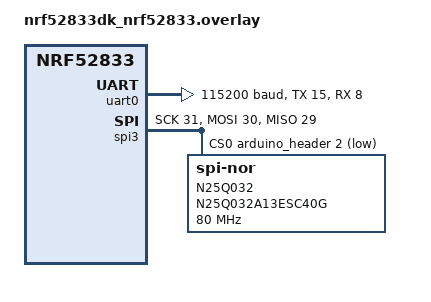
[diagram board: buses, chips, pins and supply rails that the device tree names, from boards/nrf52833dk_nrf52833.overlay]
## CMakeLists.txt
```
# Find Zephyr. This also loads Zephyr's build system.
cmake_minimum_required(VERSION 3.13.1)
find_package(Zephyr)
project(my_zephyr_app)

# Add your source file to the "app" target. This must come after
# find_package(Zephyr) which defines the target.
target_sources(app PRIVATE src/main.c  
                           src/ble/ble.c 
                           src/ble/advertise.c 
                           src/ble/scan.c 
                           src/ble/connection.c
                           src/records/extmem.c
                           src/records/storage.c
                           src/gaens/crypto.c
                           src/gaens/gaens.c
                           src/gaens/gaens_test.c
                           src/ble/services/wens/wens.c
                           src/time/time.c
                           src/ble/services/bs/bas.c
                           src/ble/services/dis/dis.c
                           src/ble/services/dts/dts.c)
```

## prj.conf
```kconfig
# This file consist of project-specific configurations

# Bluetooth
CONFIG_BT=y
CONFIG_BT_BROADCASTER=y
CONFIG_BT_PERIPHERAL=y
CONFIG_BT_OBSERVER=y
CONFIG_BT_CTLR_TX_PWR_0=y
CONFIG_BT_ID_MAX=2
CONFIG_BT_EXT_ADV=y
CONFIG_BT_EXT_ADV_MAX_ADV_SET=2
CONFIG_BT_CTLR_ADV_EXT=y
CONFIG_BT_CTLR_PHY_2M=y
CONFIG_BT_CTLR_TX_BUFFER_SIZE=251
CONFIG_BT_RX_BUF_LEN=258
CONFIG_BT_CTLR_DATA_LENGTH_MAX=251
CONFIG_BT_DEVICE_NAME="Contact Tracing Wearable"
CONFIG_BT_BONDABLE=y
CONFIG_BT_SMP=y

# Logging
CONFIG_BT_DEBUG_LOG=y
CONFIG_STDOUT_CONSOLE=y
CONFIG_LOG_BACKEND_UART=y
CONFIG_SERIAL=y

# External memory
CONFIG_FLASH=y
CONFIG_SPI=y

# GAENS crypto
CONFIG_MBEDTLS=y
CONFIG_POSIX_API=y
CONFIG_NEWLIB_LIBC=y
CONFIG_MBEDTLS_CIPHER_MODE_CTR_ENABLED=y
CONFIG_MBEDTLS_MD=y

# Power management
CONFIG_PM_DEVICE=y
```

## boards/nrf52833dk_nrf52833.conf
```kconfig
# This file consist of nrf52833-specific configurations

CONFIG_SPI_NOR=y
```

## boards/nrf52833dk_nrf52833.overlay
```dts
/* This file consist of overlays which overwrite the corresponding entries in the
   hardware-describing nrf52833dk_nrf52833.dts (Device Tree Source) file. */


/* An overlay of uart0 to enable logging on P0.15 */
&uart0 {
	compatible = "nordic,nrf-uarte";
	status = "okay";
	current-speed = <115200>;
	tx-pin = <15>;
	rx-pin = <8>;
	rts-pin = <5>;
	cts-pin = <7>;
};

/* An overlay of SPI3 to enable the N25Q32 external memory */
&spi3 {
	status = "okay";
	sck-pin = <31>;
	miso-pin = <29>;
	mosi-pin = <30>;
	cs-gpios = <&arduino_header 2 GPIO_ACTIVE_LOW>; /* <28> */
	N25Q032: N25Q032A13ESC40G@0 {
		compatible = "jedec,spi-nor";
        spi-max-frequency = <80000000>;
		reg = <0>;
		label = "N25Q032";
		jedec-id = [20 BA 16];
		size = <33554432>;
	};
};
```

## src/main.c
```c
/**
 * @file
 * @brief The main module
 */

////////////////////////////////////////////////////////////////////////////////
// Includes
////////////////////////////////////////////////////////////////////////////////

#include "ble/ble.h"
#include "records/extmem.h"

/* Zephyr includes */
#include <logging/log.h>
#include <zephyr.h>

////////////////////////////////////////////////////////////////////////////////
// Defines
////////////////////////////////////////////////////////////////////////////////

#define LOG_MODULE_NAME main
LOG_MODULE_REGISTER(main);

////////////////////////////////////////////////////////////////////////////////
// Main
////////////////////////////////////////////////////////////////////////////////

void main(void)
{
    int err;

    LOG_INF("It's alive!\n");

    err = extmem_init();
    if (err)
    {
        LOG_ERR("Failed to initialize external memory");
    }

    err = ble_init();
    if (err)
    {
        LOG_ERR("Failed to initialize BLE");
    }
}
```
